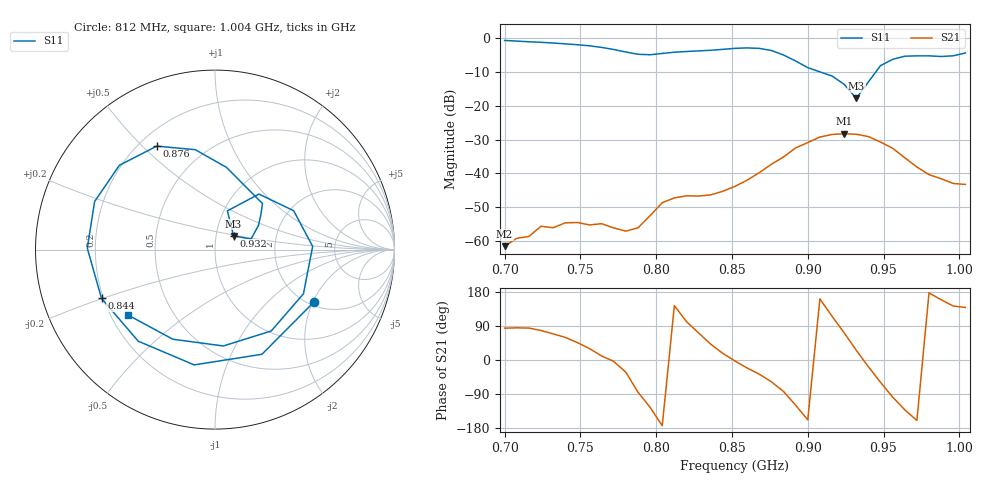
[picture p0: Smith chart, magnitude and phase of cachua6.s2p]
# Hz S RI R 50
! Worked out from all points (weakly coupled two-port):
!   39 points, 700 MHz to 1.004 GHz, reference 50 ohm
!   highest |S21| = -28.26 dB at 924 MHz (marker M1); lowest = -61.6 dB at 700 MHz (marker M2)
!   lowest |S11| = -17.8 dB at 932 MHz (marker M3), VSWR 1.30, Z = 60.7 + j9.43 ohm
!   |S11| at or under -10 dB: 908.5 MHz to 944.8 MHz (36.31 MHz wide, 3.92 % of centre)
!   S12 and S22 are empty: the file has one direction only
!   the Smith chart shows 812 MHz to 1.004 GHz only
!   S11 on the Smith chart (normalised r, x): 812 MHz: 2.12, -2.03; 844 MHz: 0.19, -0.20; 876 MHz: 0.27, +0.55; 932 MHz: 1.21, +0.19; 1.004 GHz: 0.27, -0.31
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7e8  0.7627 0.5345  8.76e-05 0.000831  0 0  0 0
7.24e8  0.8352 -0.2581  0.000346 0.00161  0 0  0 0
7.4e8  0.446 -0.6996  0.00093 0.0016  0 0  0 0
7.56e8  -0.1939 -0.7505  0.00149 0.000862  0 0  0 0
7.72e8  -0.6563 -0.195  0.00155 -0.000103  0 0  0 0
7.8e8  -0.5836 0.2302  0.00118 -0.000745  0 0  0 0
7.88e8  -0.2351 0.532  0.000138 -0.00156  0 0  0 0
7.96e8  0.2525 0.5131  -0.00136 -0.00194  0 0  0 0
8.04e8  0.5764 0.1573  -0.00365 -0.000417  0 0  0 0
8.12e8  0.5496 -0.2937  -0.00348 0.00258  0 0  0 0
8.28e8  -0.1158 -0.6424  0.00147 0.00437  0 0  0 0
8.44e8  -0.6323 -0.2718  0.00519 0.00162  0 0  0 0
8.52e8  -0.7115 0.0078  0.00642 -0.000308  0 0  0 0
8.76e8  -0.3243 0.5765  0.00734 -0.0115  0 0  0 0
9e8  0.2647 0.2562  -0.0265 -0.0107  0 0  0 0
9.08e8  0.2552 0.1915  -0.0327 0.0111  0 0  0 0
9.24e8  0.2006 0.0589  0.0121 0.0367  0 0  0 0
9.32e8  0.1035 0.0763  0.0342 0.0165  0 0  0 0
9.56e8  0.4383 0.2167  -0.00318 -0.0233  0 0  0 0
9.64e8  0.5441 0.0177  -0.0113 -0.0128  0 0  0 0
9.8e8  0.3135 -0.4533  -0.00957 0.000458  0 0  0 0
1.004e9  -0.485 -0.3643  -0.00514 0.00453  0 0  0 0
